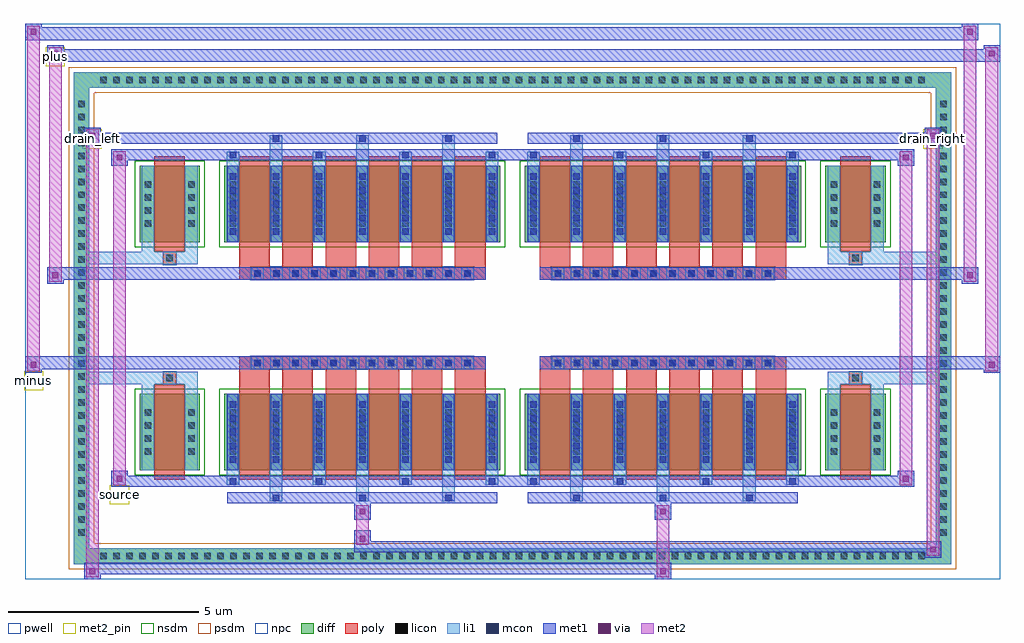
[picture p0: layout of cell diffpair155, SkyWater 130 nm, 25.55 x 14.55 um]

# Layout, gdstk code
import gdstk
lib = gdstk.Library(unit=1e-6, precision=5e-09)
def R(c, l, rs):  # rectangles x0, y0, x1, y1
    for r in rs: c.add(gdstk.rectangle(r[:2], r[2:], *l))
def A(c, l, x, y, w, h, nx, ny, dx, dy):  # array of equal rectangles
    R(c, l, [(x+i*dx, y+j*dy, x+i*dx+w, y+j*dy+h) for i in range(nx) for j in range(ny)])
def P(c, l, *ps):  # polygons
    for p in ps: c.add(gdstk.Polygon(p, *l))
pwell = (64, 44)
diff = (65, 20)
poly = (66, 20)
licon = (66, 44)
li1 = (67, 20)
mcon = (67, 44)
met1 = (68, 20)
via = (68, 44)
met2_pin = (69, 16)
met2 = (69, 20)
nsdm = (93, 44)
psdm = (94, 20)
npc = (95, 20)

diffpair155 = lib.new_cell('diffpair155')
R(diffpair155, pwell, [(-12.76,-6.84,12.76,7.71), (-10.08,-5.03,-0.01,-0.805), (0.01,-5.03,10.08,-0.805), (-10.08,0.805,-0.01,5.03), (0.01,0.805,10.08,5.03)])
A(diffpair155, diff, -10.915, -6.44, 0.41, 0.41, 64, 2, 0.34, 12.47)
A(diffpair155, diff, -11.49, -5.815, 0.41, 0.41, 1, 34, 0, 0.34)
A(diffpair155, diff, 11.08, -5.815, 0.41, 0.41, 1, 34, 0, 0.34)
R(diffpair155, diff, [(-10.915,-6.44,10.915,-6.03), (-11.49,-5.815,-11.08,5.815), (11.08,-5.815,11.49,5.815), (-9.77,-3.985,-8.19,-1.985), (-7.55,-3.985,-0.32,-1.985), (0.32,-3.985,7.55,-1.985), (8.19,-3.985,9.77,-1.985), (-9.77,1.985,-8.19,3.985), (-7.55,1.985,-0.32,3.985), (0.32,1.985,7.55,3.985), (8.19,1.985,9.77,3.985), (-10.915,6.03,10.915,6.44)])
P(diffpair155, diff, [(11.49,6.44),(-11.49,6.44),(-11.49,-6.03),(-11.08,-6.03),(-11.08,6.03),(11.08,6.03),(11.08,-6.03),(-11.08,-6.03),(-11.49,-6.03),(-11.49,-6.44),(11.49,-6.44)])
A(diffpair155, poly, -7.16, -4.235, 0.8, 2.5, 6, 2, 1.13, 5.97)
A(diffpair155, poly, 0.71, -4.235, 0.8, 2.5, 6, 2, 1.13, 5.97)
A(diffpair155, poly, -7.16, -1.735, 0.8, 0.4, 6, 2, 1.13, 3.07)
A(diffpair155, poly, 0.71, -1.735, 0.8, 0.4, 6, 2, 1.13, 3.07)
A(diffpair155, poly, -6.85, -1.335, 0.33, 0.33, 12, 2, 0.5, 2.34)
A(diffpair155, poly, 1.02, -1.335, 0.33, 0.33, 12, 2, 0.5, 2.34)
R(diffpair155, poly, [(-9.38,-4.235,-8.58,-1.735), (8.58,-4.235,9.38,-1.735), (-9.145,-1.735,-8.815,-1.405), (-9.145,-1.735,-8.815,-1.405), (8.815,-1.735,9.145,-1.405), (8.815,-1.735,9.145,-1.405), (-7.16,-1.335,-0.71,-1.005), (0.71,-1.335,7.16,-1.005), (-7.16,1.005,-0.71,1.335), (0.71,1.005,7.16,1.335), (-9.145,1.405,-8.815,1.735), (-9.145,1.405,-8.815,1.735), (8.815,1.405,9.145,1.735), (8.815,1.405,9.145,1.735), (-9.38,1.735,-8.58,4.235), (8.58,1.735,9.38,4.235)])
A(diffpair155, licon, -10.795, -6.32, 0.17, 0.17, 64, 2, 0.34, 12.47)
A(diffpair155, licon, -11.37, -5.695, 0.17, 0.17, 1, 34, 0, 0.34)
A(diffpair155, licon, 11.2, -5.695, 0.17, 0.17, 1, 34, 0, 0.34)
A(diffpair155, licon, -9.63, -3.58, 0.17, 0.17, 1, 4, 0, 0.34)
A(diffpair155, licon, -8.5, -3.58, 0.17, 0.17, 1, 4, 0, 0.34)
A(diffpair155, licon, -7.41, -3.58, 0.17, 0.17, 7, 4, 1.13, 0.34)
A(diffpair155, licon, 0.46, -3.58, 0.17, 0.17, 7, 4, 1.13, 0.34)
A(diffpair155, licon, 8.33, -3.58, 0.17, 0.17, 1, 4, 0, 0.34)
A(diffpair155, licon, 9.46, -3.58, 0.17, 0.17, 1, 4, 0, 0.34)
A(diffpair155, licon, -6.77, -1.255, 0.17, 0.17, 12, 2, 0.5, 2.34)
A(diffpair155, licon, 1.1, -1.255, 0.17, 0.17, 12, 2, 0.5, 2.34)
A(diffpair155, licon, -9.63, 2.39, 0.17, 0.17, 1, 4, 0, 0.34)
A(diffpair155, licon, -8.5, 2.39, 0.17, 0.17, 1, 4, 0, 0.34)
A(diffpair155, licon, -7.41, 2.39, 0.17, 0.17, 7, 4, 1.13, 0.34)
A(diffpair155, licon, 0.46, 2.39, 0.17, 0.17, 7, 4, 1.13, 0.34)
A(diffpair155, licon, 8.33, 2.39, 0.17, 0.17, 1, 4, 0, 0.34)
A(diffpair155, licon, 9.46, 2.39, 0.17, 0.17, 1, 4, 0, 0.34)
R(diffpair155, licon, [(-9.065,-1.655,-8.895,-1.485), (8.895,-1.655,9.065,-1.485), (-9.065,1.485,-8.895,1.655), (8.895,1.485,9.065,1.655)])
A(diffpair155, li1, -10.875, -6.4, 0.33, 0.33, 64, 2, 0.34, 12.47)
A(diffpair155, li1, -11.45, -5.775, 0.33, 0.33, 1, 34, 0, 0.34)
A(diffpair155, li1, 11.12, -5.775, 0.33, 0.33, 1, 34, 0, 0.34)
A(diffpair155, li1, -6.36, -4.79, 0.33, 0.805, 3, 2, 2.26, 8.775)
A(diffpair155, li1, -6.28, -4.79, 0.17, 0.17, 3, 2, 2.26, 9.41)
A(diffpair155, li1, 1.51, -4.79, 0.33, 0.805, 3, 2, 2.26, 8.775)
A(diffpair155, li1, 1.59, -4.79, 0.17, 0.17, 3, 2, 2.26, 9.41)
A(diffpair155, li1, -7.49, -4.36, 0.33, 0.375, 4, 2, 2.26, 8.345)
A(diffpair155, li1, -7.41, -4.36, 0.17, 0.17, 4, 2, 2.26, 8.55)
A(diffpair155, li1, 0.38, -4.36, 0.33, 0.375, 4, 2, 2.26, 8.345)
A(diffpair155, li1, 0.46, -4.36, 0.17, 0.17, 4, 2, 2.26, 8.55)
A(diffpair155, li1, -7.49, -3.985, 0.33, 2, 7, 2, 1.13, 5.97)
A(diffpair155, li1, 0.38, -3.985, 0.33, 2, 7, 2, 1.13, 5.97)
A(diffpair155, li1, -7.41, -3.79, 0.17, 0.17, 7, 5, 1.13, 0.36)
A(diffpair155, li1, -7.41, -3.79, 0.17, 1.61, 7, 2, 1.13, 5.97)
A(diffpair155, li1, 0.46, -3.79, 0.17, 0.17, 7, 5, 1.13, 0.36)
A(diffpair155, li1, 0.46, -3.79, 0.17, 1.61, 7, 2, 1.13, 5.97)
A(diffpair155, li1, -9.71, -3.66, 0.33, 0.33, 1, 4, 0, 0.34)
A(diffpair155, li1, -8.58, -3.66, 0.33, 0.33, 1, 4, 0, 0.34)
A(diffpair155, li1, -7.49, -3.66, 0.33, 0.33, 7, 4, 1.13, 0.34)
A(diffpair155, li1, 0.38, -3.66, 0.33, 0.33, 7, 4, 1.13, 0.34)
A(diffpair155, li1, 8.25, -3.66, 0.33, 0.33, 1, 4, 0, 0.34)
A(diffpair155, li1, 9.38, -3.66, 0.33, 0.33, 1, 4, 0, 0.34)
A(diffpair155, li1, -6.85, -1.335, 0.33, 0.33, 12, 2, 0.5, 2.34)
A(diffpair155, li1, 1.02, -1.335, 0.33, 0.33, 12, 2, 0.5, 2.34)
A(diffpair155, li1, -7.41, 2.18, 0.17, 0.17, 7, 5, 1.13, 0.36)
A(diffpair155, li1, 0.46, 2.18, 0.17, 0.17, 7, 5, 1.13, 0.36)
A(diffpair155, li1, -9.71, 2.31, 0.33, 0.33, 1, 4, 0, 0.34)
A(diffpair155, li1, -8.58, 2.31, 0.33, 0.33, 1, 4, 0, 0.34)
A(diffpair155, li1, -7.49, 2.31, 0.33, 0.33, 7, 4, 1.13, 0.34)
A(diffpair155, li1, 0.38, 2.31, 0.33, 0.33, 7, 4, 1.13, 0.34)
A(diffpair155, li1, 8.25, 2.31, 0.33, 0.33, 1, 4, 0, 0.34)
A(diffpair155, li1, 9.38, 2.31, 0.33, 0.33, 1, 4, 0, 0.34)
R(diffpair155, li1, [(-11.49,-6.44,-11.08,-6.03), (-11.49,-6.44,-11.08,-6.03), (-11.08,-6.44,11.08,-6.03), (11.08,-6.44,11.49,-6.03), (11.08,-6.44,11.49,-6.03), (-11.49,-6.03,-11.08,6.03), (11.08,-6.03,11.49,6.03), (-9.71,-3.985,-9.38,-1.985), (-8.58,-3.985,-8.25,-1.985), (8.25,-3.985,8.58,-1.985), (9.38,-3.985,9.71,-1.985), (-9.71,-1.985,-9.38,-1.405), (-8.58,-1.985,-8.25,-1.405), (8.25,-1.985,8.58,-1.405), (9.38,-1.985,9.71,-1.405), (-11.49,-1.735,-9.145,-1.405), (-9.71,-1.735,-9.145,-1.405), (-9.145,-1.735,-8.815,-1.405), (-8.815,-1.735,-8.25,-1.405), (8.25,-1.735,8.815,-1.405), (8.815,-1.735,9.145,-1.405), (8.815,-1.735,11.49,-1.405), (9.145,-1.735,9.71,-1.405), (-11.49,1.405,-9.145,1.735), (-9.71,1.405,-9.145,1.735), (-9.71,1.405,-9.38,1.985), (-9.145,1.405,-8.815,1.735), (-8.815,1.405,-8.25,1.735), (-8.58,1.405,-8.25,1.985), (8.25,1.405,8.815,1.735), (8.25,1.405,8.58,1.985), (8.815,1.405,9.145,1.735), (8.815,1.405,11.49,1.735), (9.145,1.405,9.71,1.735), (9.38,1.405,9.71,1.985), (-9.71,1.985,-9.38,3.985), (-8.58,1.985,-8.25,3.985), (8.25,1.985,8.58,3.985), (9.38,1.985,9.71,3.985), (-11.49,6.03,-11.08,6.44), (-11.49,6.03,-11.08,6.44), (-11.08,6.03,11.08,6.44), (11.08,6.03,11.49,6.44), (11.08,6.03,11.49,6.44)])
A(diffpair155, mcon, -6.28, -4.79, 0.17, 0.17, 3, 2, 2.26, 9.41)
A(diffpair155, mcon, 1.59, -4.79, 0.17, 0.17, 3, 2, 2.26, 9.41)
A(diffpair155, mcon, -7.41, -4.36, 0.17, 0.17, 4, 2, 2.26, 8.55)
A(diffpair155, mcon, 0.46, -4.36, 0.17, 0.17, 4, 2, 2.26, 8.55)
A(diffpair155, mcon, -7.41, -3.79, 0.17, 0.17, 7, 5, 1.13, 0.36)
A(diffpair155, mcon, 0.46, -3.79, 0.17, 0.17, 7, 5, 1.13, 0.36)
A(diffpair155, mcon, -6.77, -1.255, 0.17, 0.17, 12, 2, 0.5, 2.34)
A(diffpair155, mcon, 1.1, -1.255, 0.17, 0.17, 12, 2, 0.5, 2.34)
A(diffpair155, mcon, -7.41, 2.18, 0.17, 0.17, 7, 5, 1.13, 0.36)
A(diffpair155, mcon, 0.46, 2.18, 0.17, 0.17, 7, 5, 1.13, 0.36)
A(diffpair155, met1, -6.34, -4.85, 0.29, 0.29, 3, 2, 2.26, 9.41)
A(diffpair155, met1, 1.53, -4.85, 0.29, 0.29, 3, 2, 2.26, 9.41)
A(diffpair155, met1, -7.47, -4.42, 0.29, 0.29, 4, 2, 2.26, 8.55)
A(diffpair155, met1, 0.4, -4.42, 0.29, 0.29, 4, 2, 2.26, 8.55)
A(diffpair155, met1, -7.47, -3.985, 0.29, 2, 7, 2, 1.13, 5.97)
A(diffpair155, met1, 0.4, -3.985, 0.29, 2, 7, 2, 1.13, 5.97)
A(diffpair155, met1, -7.47, -3.85, 0.29, 0.29, 7, 5, 1.13, 0.36)
A(diffpair155, met1, 0.4, -3.85, 0.29, 0.29, 7, 5, 1.13, 0.36)
A(diffpair155, met1, -6.83, -1.315, 0.29, 0.29, 12, 2, 0.5, 2.34)
A(diffpair155, met1, 1.04, -1.315, 0.29, 0.29, 12, 2, 0.5, 2.34)
A(diffpair155, met1, -7.47, 2.12, 0.29, 0.29, 7, 5, 1.13, 0.36)
A(diffpair155, met1, 0.4, 2.12, 0.29, 0.29, 7, 5, 1.13, 0.36)
R(diffpair155, met1, [(-11.22,-6.84,-10.79,-6.41), (3.72,-6.84,4.15,-6.41), (-11.22,-6.7,4.15,-6.41), (10.79,-6.27,11.22,-5.84), (-4.15,-6.13,11.22,-5.84), (-4.15,-5.99,-3.72,-5.56), (-4.15,-5.28,-3.72,-4.85), (3.72,-5.28,4.15,-4.85), (-7.47,-4.85,-0.4,-4.56), (0.4,-4.85,7.47,-4.56), (-10.51,-4.42,-10.08,-3.99), (-10.51,-4.42,-7.47,-4.13), (-7.47,-4.42,-0.4,-4.13), (-0.4,-4.42,0.4,-4.13), (0.4,-4.42,7.47,-4.13), (7.47,-4.42,10.51,-4.13), (10.08,-4.42,10.51,-3.99), (-12.76,-1.435,-12.33,-1.005), (12.33,-1.435,12.76,-1.005), (-12.76,-1.335,-0.71,-1.005), (-7.16,-1.335,-0.71,-1.005), (0.71,-1.335,7.16,-1.005), (0.71,-1.335,12.76,-1.005), (-12.19,0.905,-11.76,1.335), (11.76,0.905,12.19,1.335), (-12.19,1.005,-7.16,1.335), (-7.16,1.005,-0.71,1.335), (0.71,1.005,7.16,1.335), (7.16,1.005,12.19,1.335), (-10.51,3.99,-10.08,4.42), (10.08,3.99,10.51,4.42), (-10.51,4.13,-7.47,4.42), (-7.47,4.13,-0.4,4.42), (-0.4,4.13,0.4,4.42), (0.4,4.13,7.47,4.42), (7.47,4.13,10.51,4.42), (-11.22,4.56,-10.79,4.99), (-11.22,4.56,-7.47,4.85), (-7.47,4.56,-0.4,4.85), (0.4,4.56,7.47,4.85), (7.47,4.56,11.22,4.85), (10.79,4.56,11.22,4.99), (-12.19,6.71,-11.76,7.14), (-12.19,6.71,-10.08,7.04), (-10.08,6.71,10.08,7.04), (10.08,6.71,12.76,7.04), (12.33,6.71,12.76,7.14), (-12.76,7.28,-12.33,7.71), (-12.76,7.28,-10.08,7.61), (-10.08,7.28,10.08,7.61), (10.08,7.28,12.19,7.61), (11.76,7.28,12.19,7.71)])
R(diffpair155, via, [(-11.08,-6.7,-10.93,-6.55), (3.86,-6.7,4.01,-6.55), (10.93,-6.13,11.08,-5.98), (-4.01,-5.85,-3.86,-5.7), (-4.01,-5.14,-3.86,-4.99), (3.86,-5.14,4.01,-4.99), (-10.37,-4.28,-10.22,-4.13), (10.22,-4.28,10.37,-4.13), (-12.62,-1.295,-12.47,-1.145), (12.47,-1.295,12.62,-1.145), (-12.05,1.045,-11.9,1.195), (11.9,1.045,12.05,1.195), (-10.37,4.13,-10.22,4.28), (10.22,4.13,10.37,4.28), (-11.08,4.7,-10.93,4.85), (10.93,4.7,11.08,4.85), (-12.05,6.85,-11.9,7), (12.47,6.85,12.62,7), (-12.62,7.42,-12.47,7.57), (11.9,7.42,12.05,7.57)])
R(diffpair155, met2_pin, [(-10.545,-4.87,-10.045,-4.37), (-12.795,-1.885,-12.295,-1.385), (-11.255,4.44,-10.755,4.94), (10.755,4.44,11.255,4.94), (-12.225,6.59,-11.725,7.09)])
R(diffpair155, met2, [(-11.17,-6.79,-10.84,-6.46), (-11.17,-6.79,-10.84,4.94), (3.77,-6.79,4.1,-6.46), (3.77,-6.46,4.1,-5.23), (10.84,-6.22,11.17,-5.89), (10.84,-6.22,11.17,4.94), (-4.1,-5.94,-3.77,-5.61), (-4.1,-5.61,-3.77,-5.23), (-4.1,-5.23,-3.77,-4.9), (3.77,-5.23,4.1,-4.9), (-10.46,-4.37,-10.13,-4.04), (-10.46,-4.37,-10.13,4.37), (10.13,-4.37,10.46,-4.04), (10.13,-4.37,10.46,4.37), (-12.71,-1.385,-12.38,-1.055), (-12.71,-1.385,-12.38,7.66), (12.38,-1.385,12.71,-1.055), (12.38,-1.385,12.71,7.09), (-12.14,0.955,-11.81,1.285), (-12.14,0.955,-11.81,7.09), (11.81,0.955,12.14,1.285), (11.81,0.955,12.14,7.66), (-10.46,4.04,-10.13,4.37), (10.13,4.04,10.46,4.37), (-11.17,4.61,-10.84,4.94), (10.84,4.61,11.17,4.94), (-12.14,6.76,-11.81,7.09), (12.38,6.76,12.71,7.09), (-12.71,7.33,-12.38,7.66), (11.81,7.33,12.14,7.66)])
P(diffpair155, met2, [(12.71,-1.385),(12.71,-1.385),(12.71,-1.055),(12.71,-1.055)],
  [(12.71,6.76),(12.71,6.76),(12.71,7.09),(12.71,7.09)],
  [(-12.38,-1.385),(-12.38,-1.385),(-12.38,-1.055),(-12.38,-1.055)],
  [(-12.38,7.33),(-12.38,7.33),(-12.38,7.66),(-12.38,7.66)],
  [(12.14,0.955),(12.14,0.955),(12.14,1.285),(12.14,1.285)],
  [(12.14,7.33),(12.14,7.33),(12.14,7.66),(12.14,7.66)],
  [(-11.81,0.955),(-11.81,0.955),(-11.81,1.285),(-11.81,1.285)],
  [(-11.81,6.76),(-11.81,6.76),(-11.81,7.09),(-11.81,7.09)],
  [(-10.84,-6.79),(-10.84,-6.79),(-10.84,-6.46),(-10.84,-6.46)],
  [(-10.84,4.61),(-10.84,4.61),(-10.84,4.94),(-10.84,4.94)],
  [(11.17,-6.22),(11.17,-6.22),(11.17,-5.89),(11.17,-5.89)],
  [(11.17,4.61),(11.17,4.61),(11.17,4.94),(11.17,4.94)],
  [(-10.13,-4.37),(-10.13,-4.37),(-10.13,-4.04),(-10.13,-4.04)],
  [(-10.13,4.04),(-10.13,4.04),(-10.13,4.37),(-10.13,4.37)],
  [(10.46,-4.37),(10.46,-4.37),(10.46,-4.04),(10.46,-4.04)],
  [(10.46,4.04),(10.46,4.04),(10.46,4.37),(10.46,4.37)])
R(diffpair155, nsdm, [(-9.9,-4.115,-8.06,-1.855), (-7.68,-4.115,-0.19,-1.855), (0.19,-4.115,7.68,-1.855), (8.06,-4.115,9.9,-1.855), (-9.9,1.855,-8.06,4.115), (-7.68,1.855,-0.19,4.115), (0.19,1.855,7.68,4.115), (8.06,1.855,9.9,4.115)])
P(diffpair155, psdm, [(11.62,6.57),(-11.62,6.57),(-11.62,-5.9),(-10.95,-5.9),(-10.95,5.9),(10.95,5.9),(10.95,-5.9),(-10.95,-5.9),(-11.62,-5.9),(-11.62,-6.57),(11.62,-6.57)])
A(diffpair155, npc, -6.87, -1.355, 0.37, 0.37, 12, 2, 0.5, 2.34)
A(diffpair155, npc, 1, -1.355, 0.37, 0.37, 12, 2, 0.5, 2.34)
R(diffpair155, npc, [(-9.165,-1.755,-8.795,-1.385), (8.795,-1.755,9.165,-1.385), (-6.87,-1.355,-6,-0.985), (-6.87,-1.355,-6,-0.985), (-6.37,-1.355,-5.5,-0.985), (-6.37,-1.355,-5.5,-0.985), (-5.87,-1.355,-5,-0.985), (-5.87,-1.355,-5,-0.985), (-5.37,-1.355,-4.5,-0.985), (-5.37,-1.355,-4.5,-0.985), (-4.87,-1.355,-4,-0.985), (-4.87,-1.355,-4,-0.985), (-4.37,-1.355,-3.5,-0.985), (-4.37,-1.355,-3.5,-0.985), (-3.87,-1.355,-3,-0.985), (-3.87,-1.355,-3,-0.985), (-3.37,-1.355,-2.5,-0.985), (-3.37,-1.355,-2.5,-0.985), (-2.87,-1.355,-2,-0.985), (-2.87,-1.355,-2,-0.985), (-2.37,-1.355,-1.5,-0.985), (-2.37,-1.355,-1.5,-0.985), (-1.87,-1.355,-1,-0.985), (-1.87,-1.355,-1,-0.985), (1,-1.355,1.87,-0.985), (1,-1.355,1.87,-0.985), (1.5,-1.355,2.37,-0.985), (1.5,-1.355,2.37,-0.985), (2,-1.355,2.87,-0.985), (2,-1.355,2.87,-0.985), (2.5,-1.355,3.37,-0.985), (2.5,-1.355,3.37,-0.985), (3,-1.355,3.87,-0.985), (3,-1.355,3.87,-0.985), (3.5,-1.355,4.37,-0.985), (3.5,-1.355,4.37,-0.985), (4,-1.355,4.87,-0.985), (4,-1.355,4.87,-0.985), (4.5,-1.355,5.37,-0.985), (4.5,-1.355,5.37,-0.985), (5,-1.355,5.87,-0.985), (5,-1.355,5.87,-0.985), (5.5,-1.355,6.37,-0.985), (5.5,-1.355,6.37,-0.985), (6,-1.355,6.87,-0.985), (6,-1.355,6.87,-0.985), (-6.87,0.985,-6,1.355), (-6.87,0.985,-6,1.355), (-6.37,0.985,-5.5,1.355), (-6.37,0.985,-5.5,1.355), (-5.87,0.985,-5,1.355), (-5.87,0.985,-5,1.355), (-5.37,0.985,-4.5,1.355), (-5.37,0.985,-4.5,1.355), (-4.87,0.985,-4,1.355), (-4.87,0.985,-4,1.355), (-4.37,0.985,-3.5,1.355), (-4.37,0.985,-3.5,1.355), (-3.87,0.985,-3,1.355), (-3.87,0.985,-3,1.355), (-3.37,0.985,-2.5,1.355), (-3.37,0.985,-2.5,1.355), (-2.87,0.985,-2,1.355), (-2.87,0.985,-2,1.355), (-2.37,0.985,-1.5,1.355), (-2.37,0.985,-1.5,1.355), (-1.87,0.985,-1,1.355), (-1.87,0.985,-1,1.355), (1,0.985,1.87,1.355), (1,0.985,1.87,1.355), (1.5,0.985,2.37,1.355), (1.5,0.985,2.37,1.355), (2,0.985,2.87,1.355), (2,0.985,2.87,1.355), (2.5,0.985,3.37,1.355), (2.5,0.985,3.37,1.355), (3,0.985,3.87,1.355), (3,0.985,3.87,1.355), (3.5,0.985,4.37,1.355), (3.5,0.985,4.37,1.355), (4,0.985,4.87,1.355), (4,0.985,4.87,1.355), (4.5,0.985,5.37,1.355), (4.5,0.985,5.37,1.355), (5,0.985,5.87,1.355), (5,0.985,5.87,1.355), (5.5,0.985,6.37,1.355), (5.5,0.985,6.37,1.355), (6,0.985,6.87,1.355), (6,0.985,6.87,1.355), (-9.165,1.385,-8.795,1.755), (8.795,1.385,9.165,1.755)])
diffpair155.add(gdstk.Label('minus', (-12.545,-1.635), layer=69, texttype=5))
diffpair155.add(gdstk.Label('drain_right', (11.005,4.69), layer=69, texttype=5))
diffpair155.add(gdstk.Label('drain_left', (-11.005,4.69), layer=69, texttype=5))
diffpair155.add(gdstk.Label('source', (-10.295,-4.62), layer=69, texttype=5))
diffpair155.add(gdstk.Label('plus', (-11.975,6.84), layer=69, texttype=5))

lib.write_gds('diffpair155.gds')
